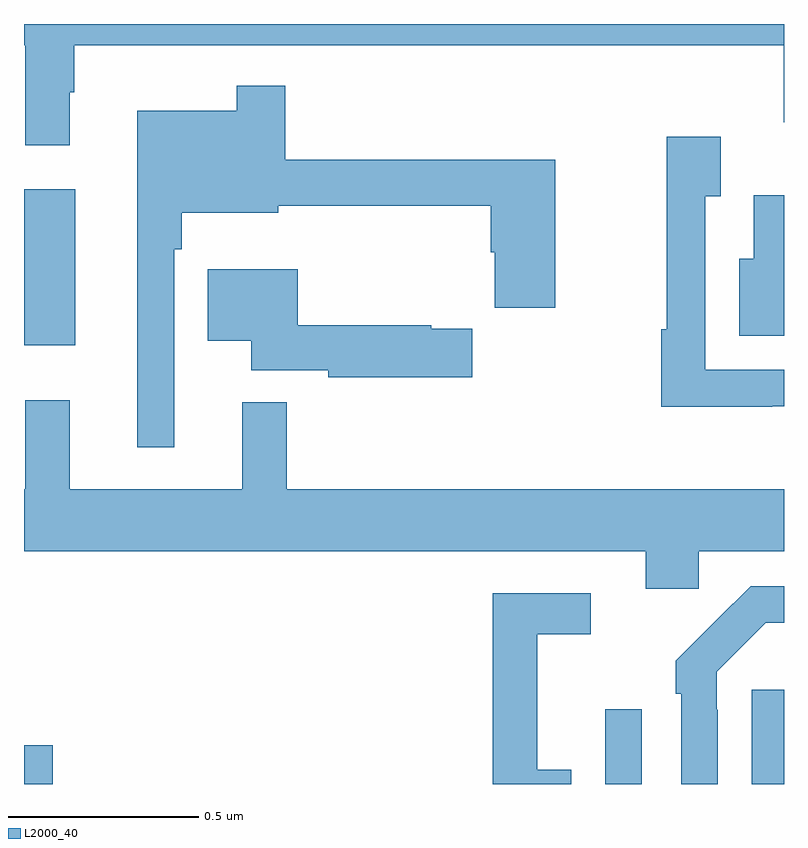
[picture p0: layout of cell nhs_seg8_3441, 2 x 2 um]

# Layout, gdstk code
import gdstk
lib = gdstk.Library(unit=1e-6, precision=1e-09)
def R(c, l, rs):  # rectangles x0, y0, x1, y1
    for r in rs: c.add(gdstk.rectangle(r[:2], r[2:], *l))
def P(c, l, *ps):  # polygons
    for p in ps: c.add(gdstk.Polygon(p, *l))
L2000_40 = (2000, 40)

nhs_seg8_3441 = lib.new_cell('nhs_seg8_3441')
R(nhs_seg8_3441, L2000_40, [(157,1103.9,157.075,1104.002), (158.529,1103.9,158.625,1104.097), (158.915,1103.9,159,1104.148), (157,1105.055,157.135,1105.465)])
P(nhs_seg8_3441, L2000_40, [(157,1105.844),(157.003,1105.844),(157.003,1105.581),(157.12,1105.581),(157.12,1105.721),(157.132,1105.721),(157.132,1105.844),(158.999,1105.844),(158.999,1105.642),(159,1105.642),(159,1105.9),(157,1105.9)],
  [(157.395,1105.307),(157.415,1105.307),(157.415,1105.403),(157.669,1105.403),(157.669,1105.422),(158.228,1105.422),(158.228,1105.299),(158.239,1105.299),(158.239,1105.153),(158.398,1105.153),(158.398,1105.543),(157.688,1105.543),(157.688,1105.738),(157.56,1105.738),(157.56,1105.672),(157.298,1105.672),(157.298,1104.786),(157.395,1104.786)],
  [(158.969,1104.894),(159,1104.894),(159,1104.99),(158.793,1104.99),(158.793,1105.447),(158.833,1105.447),(158.833,1105.603),(158.692,1105.603),(158.692,1105.097),(158.677,1105.097),(158.677,1104.893),(158.969,1104.893)],
  [(159,1105.45),(158.921,1105.45),(158.921,1105.282),(158.882,1105.282),(158.882,1105.079),(159,1105.079)],
  [(158.18,1105.098),(158.072,1105.098),(158.072,1105.107),(157.72,1105.107),(157.72,1105.255),(157.484,1105.255),(157.484,1105.067),(157.598,1105.067),(157.598,1104.989),(157.8,1104.989),(157.8,1104.97),(158.18,1104.97)],
  [(158.775,1104.512),(159,1104.512),(159,1104.676),(157.691,1104.676),(157.691,1104.904),(157.574,1104.904),(157.574,1104.676),(157.121,1104.676),(157.121,1104.91),(157.003,1104.91),(157.003,1104.676),(157,1104.676),(157,1104.512),(158.636,1104.512),(158.636,1104.414),(158.775,1104.414)],
  [(158.826,1104.095),(158.823,1104.095),(158.823,1104.195),(158.952,1104.324),(159,1104.324),(159,1104.42),(158.912,1104.42),(158.821,1104.329),(158.82,1104.33),(158.715,1104.225),(158.715,1104.137),(158.73,1104.137),(158.73,1103.9),(158.826,1103.9)],
  [(158.44,1103.938),(158.351,1103.938),(158.351,1104.294),(158.491,1104.294),(158.491,1104.402),(158.233,1104.402),(158.233,1103.9),(158.44,1103.9)])

lib.write_gds('nhs_seg8_3441.gds')
